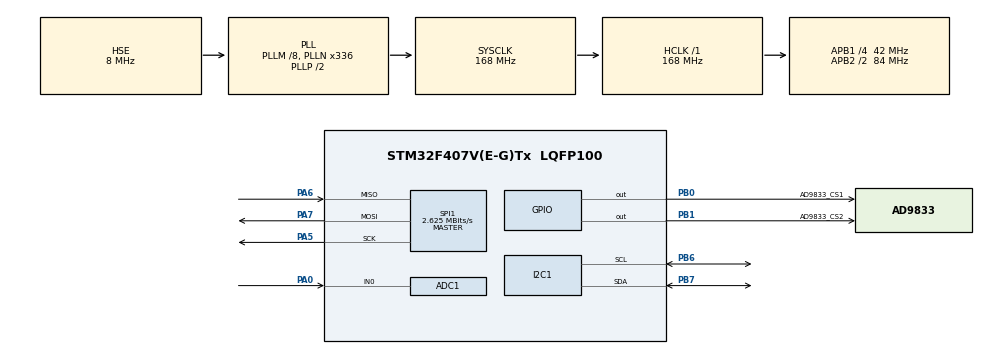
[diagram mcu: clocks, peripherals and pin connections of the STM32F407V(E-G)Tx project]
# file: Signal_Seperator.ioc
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ADC1.Channel-0\#ChannelRegularConversion=ADC_CHANNEL_0
ADC1.ExternalTrigConv=ADC_EXTERNALTRIGCONV_T3_TRGO
ADC1.NbrOfConversionFlag=1
ADC1.Rank-0\#ChannelRegularConversion=1
ADC1.SamplingTime-0\#ChannelRegularConversion=ADC_SAMPLETIME_15CYCLES
ADC1.master=1
Dma.ADC1.0.Direction=DMA_PERIPH_TO_MEMORY
Dma.ADC1.0.FIFOMode=DMA_FIFOMODE_DISABLE
Dma.ADC1.0.Instance=DMA2_Stream0
Dma.ADC1.0.MemDataAlignment=DMA_MDATAALIGN_HALFWORD
Dma.ADC1.0.MemInc=DMA_MINC_ENABLE
Dma.ADC1.0.Mode=DMA_CIRCULAR
Dma.ADC1.0.PeriphDataAlignment=DMA_PDATAALIGN_HALFWORD
Dma.ADC1.0.PeriphInc=DMA_PINC_DISABLE
Dma.ADC1.0.Priority=DMA_PRIORITY_MEDIUM
Dma.Request0=ADC1
Mcu.Family=STM32F4
Mcu.Name=STM32F407V(E-G)Tx
Mcu.Package=LQFP100
NVIC.ADC_IRQn=true\:0\:0\:false\:false\:true\:true\:true\:true
NVIC.DMA2_Stream0_IRQn=true\:0\:0\:false\:false\:true\:false\:true\:true
NVIC.PriorityGroup=NVIC_PRIORITYGROUP_4
PA0-WKUP.Signal=ADCx_IN0
PA13.Mode=Serial_Wire
PA13.Signal=SYS_JTMS-SWDIO
PA14.Mode=Serial_Wire
PA14.Signal=SYS_JTCK-SWCLK
PA5.Mode=Full_Duplex_Master
PA5.Signal=SPI1_SCK
PA6.Mode=Full_Duplex_Master
PA6.Signal=SPI1_MISO
PA7.Mode=Full_Duplex_Master
PA7.Signal=SPI1_MOSI
PB0.GPIO_Label=AD9833_CS1
PB0.GPIO_PuPd=GPIO_PULLUP
PB0.PinState=GPIO_PIN_SET
PB0.Signal=GPIO_Output
PB1.GPIO_Label=AD9833_CS2
PB1.GPIO_PuPd=GPIO_PULLUP
PB1.PinState=GPIO_PIN_SET
PB1.Signal=GPIO_Output
PB6.GPIO_Pu=GPIO_PULLUP
PB6.GPIO_Speed=GPIO_SPEED_FREQ_LOW
PB6.Mode=I2C
PB6.Signal=I2C1_SCL
PB7.GPIO_Pu=GPIO_PULLUP
PB7.GPIO_Speed=GPIO_SPEED_FREQ_LOW
PB7.Mode=I2C
PB7.Signal=I2C1_SDA
PH0-OSC_IN.Mode=HSE-External-Oscillator
PH0-OSC_IN.Signal=RCC_OSC_IN
PH1-OSC_OUT.Mode=HSE-External-Oscillator
PH1-OSC_OUT.Signal=RCC_OSC_OUT
ProjectManager.HeapSize=0x200
ProjectManager.StackSize=0x400
ProjectManager.TargetToolchain=CMake
RCC.48MHZClocksFreq_Value=84000000
RCC.AHBFreq_Value=168000000
RCC.APB1CLKDivider=RCC_HCLK_DIV4
RCC.APB1Freq_Value=42000000
RCC.APB1TimFreq_Value=84000000
RCC.APB2CLKDivider=RCC_HCLK_DIV2
RCC.APB2Freq_Value=84000000
RCC.APB2TimFreq_Value=168000000
RCC.CortexFreq_Value=168000000
RCC.HCLKFreq_Value=168000000
RCC.HSE_VALUE=8000000
RCC.HSI_VALUE=16000000
RCC.LSE_VALUE=32768
RCC.PLLM=8
RCC.PLLN=336
RCC.PLLSourceVirtual=RCC_PLLSOURCE_HSE
RCC.SYSCLKFreq_VALUE=168000000
RCC.SYSCLKSource=RCC_SYSCLKSOURCE_PLLCLK
RCC.VCOOutputFreq_Value=336000000
SH.ADCx_IN0.0=ADC1_IN0,IN0
SPI1.BaudRatePrescaler=SPI_BAUDRATEPRESCALER_32
SPI1.CalculateBaudRate=2.625 MBits/s
SPI1.DataSize=SPI_DATASIZE_16BIT
SPI1.Direction=SPI_DIRECTION_2LINES
SPI1.Mode=SPI_MODE_MASTER
SPI1.VirtualType=VM_MASTER
TIM3.AutoReloadPreload=TIM_AUTORELOAD_PRELOAD_ENABLE
TIM3.Period=139
TIM3.TIM_MasterOutputTrigger=TIM_TRGO_UPDATE
TIM7.Period=139
TIM7.Prescaler=0
VP_TIM3_VS_ClockSourceINT.Mode=Internal
VP_TIM7_VS_ClockSourceINT.Mode=Enable_Timer
board=custom

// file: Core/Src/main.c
/* USER CODE BEGIN Header */
/**
  ******************************************************************************
  * @file           : main.c
  * @brief          : Main program body
  ******************************************************************************
  * @attention
  *
  * Copyright (c) 2026 STMicroelectronics.
  * All rights reserved.
  *
  * This software is licensed under terms that can be found in the LICENSE file
  * in the root directory of this software component.
  * If no LICENSE file comes with this software, it is provided AS-IS.
  *
  ******************************************************************************
  */
/* USER CODE END Header */
#include "main.h"

/* USER CODE BEGIN Includes */
#include "OLED.h"
#include "signal_sampler.h"
#include "ad9833.h"
#include <math.h>
/* USER CODE END Includes */

/* USER CODE BEGIN PD */
#ifndef M_PI
#define M_PI 3.14159265358979323846f
#endif
/* USER CODE END PD */

ADC_HandleTypeDef hadc1;
DMA_HandleTypeDef hdma_adc1;

I2C_HandleTypeDef hi2c1;

SPI_HandleTypeDef hspi1;

TIM_HandleTypeDef htim3;
TIM_HandleTypeDef htim7;

/* USER CODE BEGIN PV */
#define NUM_FREQS 57   /* 20k~300kHz，步长 5kHz */

static float    samples[FFT_SIZE];
static float    dft_results[NUM_FREQS];
static const uint32_t target_freqs[NUM_FREQS] = {
    20000,  25000,  30000,  35000,  40000,  45000,  50000,
    55000,  60000,  65000,  70000,  75000,  80000,  85000,
    90000,  95000, 100000, 105000, 110000, 115000, 120000,
   125000, 130000, 135000, 140000, 145000, 150000, 155000,
   160000, 165000, 170000, 175000, 180000, 185000, 190000,
   195000, 200000, 205000, 210000, 215000, 220000, 225000,
   230000, 235000, 240000, 245000, 250000, 255000, 260000,
   265000, 270000, 275000, 280000, 285000, 290000, 295000,
   300000
};
/* USER CODE END PV */

void SystemClock_Config(void);
static void MX_GPIO_Init(void);
static void MX_DMA_Init(void);
static void MX_I2C1_Init(void);
static void MX_ADC1_Init(void);
static void MX_TIM3_Init(void);
static void MX_TIM7_Init(void);
static void MX_SPI1_Init(void);
static void MX_DAC_Init(void);
/* USER CODE BEGIN PFP */
/* Goertzel 算法：计算信号 x 在频率 freq 处的 DFT 幅度 */
static float goertzel(float *x, int N, float freq, float fs);
/* 冒泡排序找出幅度最大的两个频率，并保证 fa < fb */
static void find_top_two(float *mags, const uint32_t *freqs, int N,
                         uint32_t *fa, uint32_t *fb);
/* USER CODE END PFP */

int main(void)
{

  /* MCU Configuration--------------------------------------------------------*/

  /* Reset of all peripherals, Initializes the Flash interface and the Systick. */
  HAL_Init();

  /* Configure the system clock */
  SystemClock_Config();

  /* Initialize all configured peripherals */
  MX_GPIO_Init();
  MX_DMA_Init();
  MX_I2C1_Init();
  MX_ADC1_Init();
  MX_TIM3_Init();
  MX_TIM7_Init();
  MX_SPI1_Init();
  MX_DAC_Init();
  /* USER CODE BEGIN 2 */

  /* ---- 初始化 OLED ---- */
  OLED_Init(&hi2c1);

  /* ---- 先画固定标签（只画一次，之后只刷新数字） ---- */
  OLED_Clear();
  OLED_ShowString(0, 0,  "fa =");
  OLED_ShowString(80, 0, "kHz");
  OLED_ShowString(0, 16, "fb =");
  OLED_ShowString(80, 16, "kHz");
  OLED_Display();

  /* ---- 启动采样模块（TIM3 + ADC + DMA） ---- */
  Sampler_Init();

  /* ---- 初始化两路 AD9833 DDS 模块（CS1=PB0, CS2=PB1, SPI1） ---- */
  AD9833_Init();

  uint32_t fa = 0, fb = 0;
  uint32_t last_fa = 0xFFFFFFFF, last_fb = 0xFFFFFFFF;  /* 上次显示的值，用于判断是否变化 */

  /* 时序一致性过滤：连续 N 帧检测到同一对频率才算有效 */
  uint32_t candidate_fa = 0, candidate_fb = 0;
  int      confirm_cnt   = 0;
  /* USER CODE END 2 */

  /* Infinite loop */
  while (1)
  {

    /* USER CODE BEGIN 3 */

    /* ---- 第一步：采集 1024 点并去直流 ---- */
    Sampler_Capture(samples);

    /* ---- 第二步：对 9 个目标频率依次进行 Goertzel DFT ---- */
    for (int i = 0; i < NUM_FREQS; i++) {
        dft_results[i] = goertzel(samples, FFT_SIZE,
                                  (float)target_freqs[i], SAMPLE_RATE);
    }

    /* ---- 第三步：冒泡排序，找出幅度最大的两个频率 ---- */
    find_top_two(dft_results, target_freqs, NUM_FREQS, &fa, &fb);

    /* ---- 第四步：时序一致性过滤，滤除模拟域互调产物的瞬态干扰 ---- */
    if (fa == candidate_fa && fb == candidate_fb) {
        confirm_cnt++;
        if (confirm_cnt >= 3) {        /* 连续 3 帧相同 → 确认有效 */
            if (fa != last_fa || fb != last_fb) {
                last_fa = fa;
                last_fb = fb;
                OLED_ShowNum(48, 0,  fa / 1000, 3);
                OLED_ShowNum(48, 16, fb / 1000, 3);
                OLED_Display();

                /* 同步更新两路 AD9833 输出频率 */
                AD9833_SetFreq(1, fa);
                AD9833_SetFreq(2, fb);
            }
        }
    } else {
        candidate_fa = fa;
        candidate_fb = fb;
        confirm_cnt  = 1;              /* 新候选，重新计数 */
    }
  }
  /* USER CODE END 3 */
}

void SystemClock_Config(void)
{
  RCC_OscInitTypeDef RCC_OscInitStruct = {0};
  RCC_ClkInitTypeDef RCC_ClkInitStruct = {0};

  /** Configure the main internal regulator output voltage
  */
  __HAL_RCC_PWR_CLK_ENABLE();
  __HAL_PWR_VOLTAGESCALING_CONFIG(PWR_REGULATOR_VOLTAGE_SCALE1);

  /** Initializes the RCC Oscillators according to the specified parameters
  * in the RCC_OscInitTypeDef structure.
  */
  RCC_OscInitStruct.OscillatorType = RCC_OSCILLATORTYPE_HSE;
  RCC_OscInitStruct.HSEState = RCC_HSE_ON;
  RCC_OscInitStruct.PLL.PLLState = RCC_PLL_ON;
  RCC_OscInitStruct.PLL.PLLSource = RCC_PLLSOURCE_HSE;
  RCC_OscInitStruct.PLL.PLLM = 8;
  RCC_OscInitStruct.PLL.PLLN = 336;
  RCC_OscInitStruct.PLL.PLLP = RCC_PLLP_DIV2;
  RCC_OscInitStruct.PLL.PLLQ = 4;
  if (HAL_RCC_OscConfig(&RCC_OscInitStruct) != HAL_OK)
  {
    Error_Handler();
  }

  /** Initializes the CPU, AHB and APB buses clocks
  */
  RCC_ClkInitStruct.ClockType = RCC_CLOCKTYPE_HCLK|RCC_CLOCKTYPE_SYSCLK
                              |RCC_CLOCKTYPE_PCLK1|RCC_CLOCKTYPE_PCLK2;
  RCC_ClkInitStruct.SYSCLKSource = RCC_SYSCLKSOURCE_PLLCLK;
  RCC_ClkInitStruct.AHBCLKDivider = RCC_SYSCLK_DIV1;
  RCC_ClkInitStruct.APB1CLKDivider = RCC_HCLK_DIV4;
  RCC_ClkInitStruct.APB2CLKDivider = RCC_HCLK_DIV2;

  if (HAL_RCC_ClockConfig(&RCC_ClkInitStruct, FLASH_LATENCY_5) != HAL_OK)
  {
    Error_Handler();
  }
}

static void MX_ADC1_Init(void)
{

  ADC_ChannelConfTypeDef sConfig = {0};

  /** Configure the global features of the ADC (Clock, Resolution, Data Alignment and number of conversion)
  */
  hadc1.Instance = ADC1;
  hadc1.Init.ClockPrescaler = ADC_CLOCK_SYNC_PCLK_DIV4;
  hadc1.Init.Resolution = ADC_RESOLUTION_12B;
  hadc1.Init.ScanConvMode = DISABLE;
  hadc1.Init.ContinuousConvMode = DISABLE;
  hadc1.Init.DiscontinuousConvMode = DISABLE;
  hadc1.Init.ExternalTrigConvEdge = ADC_EXTERNALTRIGCONVEDGE_RISING;
  hadc1.Init.ExternalTrigConv = ADC_EXTERNALTRIGCONV_T3_TRGO;
  hadc1.Init.DataAlign = ADC_DATAALIGN_RIGHT;
  hadc1.Init.NbrOfConversion = 1;
  hadc1.Init.DMAContinuousRequests = DISABLE;
  hadc1.Init.EOCSelection = ADC_EOC_SINGLE_CONV;
  if (HAL_ADC_Init(&hadc1) != HAL_OK)
  {
    Error_Handler();
  }

  /** Configure for the selected ADC regular channel its corresponding rank in the sequencer and its sample time.
  */
  sConfig.Channel = ADC_CHANNEL_0;
  sConfig.Rank = 1;
  sConfig.SamplingTime = ADC_SAMPLETIME_15CYCLES;
  if (HAL_ADC_ConfigChannel(&hadc1, &sConfig) != HAL_OK)
  {
    Error_Handler();
  }

}

static void MX_DAC_Init(void)
{

}

static void MX_I2C1_Init(void)
{

  hi2c1.Instance = I2C1;
  hi2c1.Init.ClockSpeed = 100000;
  hi2c1.Init.DutyCycle = I2C_DUTYCYCLE_2;
  hi2c1.Init.OwnAddress1 = 0;
  hi2c1.Init.AddressingMode = I2C_ADDRESSINGMODE_7BIT;
  hi2c1.Init.DualAddressMode = I2C_DUALADDRESS_DISABLE;
  hi2c1.Init.OwnAddress2 = 0;
  hi2c1.Init.GeneralCallMode = I2C_GENERALCALL_DISABLE;
  hi2c1.Init.NoStretchMode = I2C_NOSTRETCH_DISABLE;
  if (HAL_I2C_Init(&hi2c1) != HAL_OK)
  {
    Error_Handler();
  }

}

static void MX_SPI1_Init(void)
{

  /* SPI1 parameter configuration*/
  hspi1.Instance = SPI1;
  hspi1.Init.Mode = SPI_MODE_MASTER;
  hspi1.Init.Direction = SPI_DIRECTION_2LINES;
  hspi1.Init.DataSize = SPI_DATASIZE_16BIT;
  hspi1.Init.CLKPolarity = SPI_POLARITY_LOW;
  hspi1.Init.CLKPhase = SPI_PHASE_1EDGE;
  hspi1.Init.NSS = SPI_NSS_SOFT;
  hspi1.Init.BaudRatePrescaler = SPI_BAUDRATEPRESCALER_32;
  hspi1.Init.FirstBit = SPI_FIRSTBIT_MSB;
  hspi1.Init.TIMode = SPI_TIMODE_DISABLE;
  hspi1.Init.CRCCalculation = SPI_CRCCALCULATION_DISABLE;
  hspi1.Init.CRCPolynomial = 10;
  if (HAL_SPI_Init(&hspi1) != HAL_OK)
  {
    Error_Handler();
  }

}

static void MX_TIM3_Init(void)
{

  TIM_ClockConfigTypeDef sClockSourceConfig = {0};
  TIM_MasterConfigTypeDef sMasterConfig = {0};

  htim3.Instance = TIM3;
  htim3.Init.Prescaler = 0;
  htim3.Init.CounterMode = TIM_COUNTERMODE_UP;
  htim3.Init.Period = 139;
  htim3.Init.ClockDivision = TIM_CLOCKDIVISION_DIV1;
  htim3.Init.AutoReloadPreload = TIM_AUTORELOAD_PRELOAD_ENABLE;
  if (HAL_TIM_Base_Init(&htim3) != HAL_OK)
  {
    Error_Handler();
  }
  sClockSourceConfig.ClockSource = TIM_CLOCKSOURCE_INTERNAL;
  if (HAL_TIM_ConfigClockSource(&htim3, &sClockSourceConfig) != HAL_OK)
  {
    Error_Handler();
  }
  sMasterConfig.MasterOutputTrigger = TIM_TRGO_UPDATE;
  sMasterConfig.MasterSlaveMode = TIM_MASTERSLAVEMODE_DISABLE;
  if (HAL_TIMEx_MasterConfigSynchronization(&htim3, &sMasterConfig) != HAL_OK)
  {
    Error_Handler();
  }

}

static void MX_TIM7_Init(void)
{

  TIM_MasterConfigTypeDef sMasterConfig = {0};

  htim7.Instance = TIM7;
  htim7.Init.Prescaler = 0;
  htim7.Init.CounterMode = TIM_COUNTERMODE_UP;
  htim7.Init.Period = 139;
  htim7.Init.AutoReloadPreload = TIM_AUTORELOAD_PRELOAD_DISABLE;
  if (HAL_TIM_Base_Init(&htim7) != HAL_OK)
  {
    Error_Handler();
  }
  sMasterConfig.MasterOutputTrigger = TIM_TRGO_RESET;
  sMasterConfig.MasterSlaveMode = TIM_MASTERSLAVEMODE_DISABLE;
  if (HAL_TIMEx_MasterConfigSynchronization(&htim7, &sMasterConfig) != HAL_OK)
  {
    Error_Handler();
  }

}

static void MX_DMA_Init(void)
{

  /* DMA controller clock enable */
  __HAL_RCC_DMA2_CLK_ENABLE();

  /* DMA interrupt init */
  /* DMA2_Stream0_IRQn interrupt configuration */
  HAL_NVIC_SetPriority(DMA2_Stream0_IRQn, 0, 0);
  HAL_NVIC_EnableIRQ(DMA2_Stream0_IRQn);

}

static void MX_GPIO_Init(void)
{
  GPIO_InitTypeDef GPIO_InitStruct = {0};

  /* GPIO Ports Clock Enable */
  __HAL_RCC_GPIOH_CLK_ENABLE();
  __HAL_RCC_GPIOA_CLK_ENABLE();
  __HAL_RCC_GPIOB_CLK_ENABLE();

  /*Configure GPIO pin Output Level */
  HAL_GPIO_WritePin(GPIOB, AD9833_CS1_Pin|AD9833_CS2_Pin, GPIO_PIN_SET);

  /*Configure GPIO pins : AD9833_CS1_Pin AD9833_CS2_Pin */
  GPIO_InitStruct.Pin = AD9833_CS1_Pin|AD9833_CS2_Pin;
  GPIO_InitStruct.Mode = GPIO_MODE_OUTPUT_PP;
  GPIO_InitStruct.Pull = GPIO_PULLUP;
  GPIO_InitStruct.Speed = GPIO_SPEED_FREQ_LOW;
  HAL_GPIO_Init(GPIOB, &GPIO_InitStruct);

}

/* USER CODE BEGIN 4 */
/*
 * Goertzel 算法 —— 计算信号在指定频率处的 DFT 幅度
 *
 * 原理简介：
 *   标准 DFT 需要逐点乘 cos(ωn) 和 sin(ωn)，每个频率要算 2N 次三角函数，太慢。
 *   Goertzel 用一个二阶 IIR 谐振器替代：
 *       s[n] = x[n] + 2·cos(ω)·s[n-1] - s[n-2]
 *   迭代 N 次后，从两个状态变量 s1、s2 直接得到幅度平方：
 *       |X(ω)|² = s1² + s2² − 2·cos(ω)·s1·s2
 *   整个算法只需要 1 次 cosf() 调用，其余全是乘加运算。
 *
 * 参数：
 *   x    - 输入信号数组（已去直流，以 0 为中心）
 *   N    - 采样点数（1024）
 *   freq - 目标频率（Hz），如 20000.0f
 *   fs   - 采样率（Hz），600000.0f
 * 返回：
 *   该频率处的 DFT 幅度（非归一化），用于幅度比较
 */
static float goertzel(float *x, int N, float freq, float fs)
{
    /* 计算角频率 ω = 2π·f/fs，以及 IIR 系数 coeff = 2·cos(ω) */
    float omega = 2.0f * M_PI * freq / fs;
    float coeff = 2.0f * cosf(omega);

    /* s0=当前值 s[n], s1=s[n-1], s2=s[n-2] */
    float s0 = 0.0f, s1 = 0.0f, s2 = 0.0f;

    /* IIR 谐振器迭代：s[n] = x[n] + coeff·s[n-1] - s[n-2] */
    for (int i = 0; i < N; i++) {
        s0 = x[i] + coeff * s1 - s2;
        s2 = s1;
        s1 = s0;
    }

    /* 迭代结束后：s1 = s[N-1], s2 = s[N-2]
     * 幅度平方 = s1² + s2² - coeff·s1·s2
     * （此公式由 |X|² = Re² + Im² 推导化简而来，省去了显式计算实部虚部） */
    float mag_sq = s1 * s1 + s2 * s2 - coeff * s1 * s2;
    if (mag_sq < 0.0f) mag_sq = 0.0f;   /* 浮点舍入可能导致微小负数，钳位到 0 */
    return sqrtf(mag_sq);
}

/*
 * 冒泡排序找出 DFT 幅度最大的两个频率
 *
 * 采用索引排序（不改变原始数据顺序）：
 *   1. 建立索引数组 indices = {0, 1, ..., 8}
 *   2. 按 mags[indices[j]] 从大到小冒泡排序索引数组
 *   3. 取前两个索引对应的频率，确保 fa < fb
 *
 * 参数：
 *   mags  - 9 个频率的 DFT 幅度数组
 *   freqs - 对应的频率值数组（Hz）
 *   N     - 数组长度（9）
 *   fa    - 输出：频率较低的那个（Hz）
 *   fb    - 输出：频率较高的那个（Hz）
 */
static void find_top_two(float *mags, const uint32_t *freqs, int N,
                         uint32_t *fa, uint32_t *fb)
{
    /* 初始化索引数组 */
    int indices[NUM_FREQS];
    for (int i = 0; i < N; i++) indices[i] = i;

    /* 冒泡排序：按幅度从大到小排列索引 */
    for (int i = 0; i < N - 1; i++) {
        for (int j = 0; j < N - 1 - i; j++) {
            if (mags[indices[j]] < mags[indices[j + 1]]) {
                int tmp = indices[j];
                indices[j] = indices[j + 1];
                indices[j + 1] = tmp;
            }
        }
    }

    /* 取排序后前两个索引对应的频率 */
    uint32_t f1 = freqs[indices[0]];   /* 幅度最大 */
    uint32_t f2 = freqs[indices[1]];   /* 幅度第二大 */
    *fa = (f1 < f2) ? f1 : f2;         /* 较小者赋给 fa */
    *fb = (f1 < f2) ? f2 : f1;         /* 较大者赋给 fb */
}
/* USER CODE END 4 */

void Error_Handler(void)
{
  __disable_irq();
  while (1)
  {
  }
}
